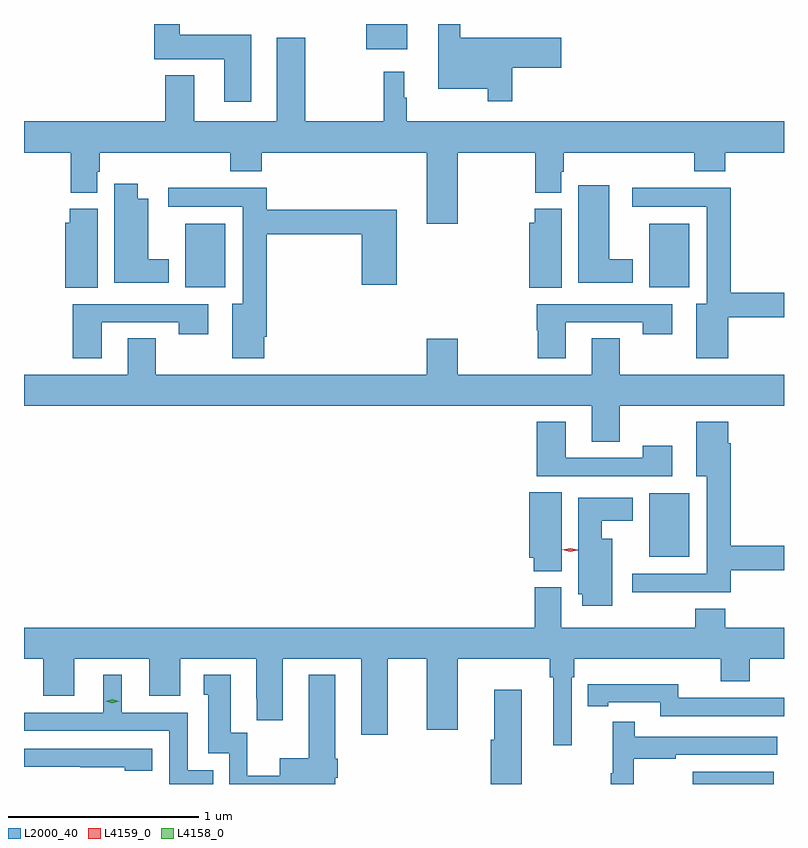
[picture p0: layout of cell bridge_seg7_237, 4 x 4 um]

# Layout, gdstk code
import gdstk
lib = gdstk.Library(unit=1e-6, precision=1e-09)
def R(c, l, rs):  # rectangles x0, y0, x1, y1
    for r in rs: c.add(gdstk.rectangle(r[:2], r[2:], *l))
def P(c, l, *ps):  # polygons
    for p in ps: c.add(gdstk.Polygon(p, *l))
L2000_40 = (2000, 40)
L4158_0 = (4158, 0)
L4159_0 = (4159, 0)

bridge_seg7_237 = lib.new_cell('bridge_seg7_237')
R(bridge_seg7_237, L2000_40, [(346.227,1033.257,346.654,1033.321), (345.998,1034.453,346.21,1034.788), (343.556,1035.872,343.768,1036.207), (345.998,1035.872,346.21,1036.207), (344.51,1037.123,344.725,1037.257)])
P(bridge_seg7_237, L2000_40, [(345.278,1037.027),(345.535,1037.027),(345.535,1037.185),(345.005,1037.185),(345.005,1037.257),(344.888,1037.257),(344.888,1036.916),(345.15,1036.916),(345.15,1036.851),(345.278,1036.851)],
  [(343.903,1037.2),(343.528,1037.2),(343.528,1037.257),(343.394,1037.257),(343.394,1037.072),(343.763,1037.072),(343.763,1036.848),(343.903,1036.848)],
  [(344.992,1036.58),(345.4,1036.58),(345.4,1036.369),(345.535,1036.369),(345.535,1036.479),(345.548,1036.479),(345.548,1036.58),(346.235,1036.58),(346.235,1036.481),(346.4,1036.481),(346.4,1036.58),(346.708,1036.58),(346.708,1036.744),(344.722,1036.744),(344.722,1036.868),(344.71,1036.868),(344.71,1037.007),(344.601,1037.007),(344.601,1036.744),(344.187,1036.744),(344.187,1037.185),(344.039,1037.185),(344.039,1036.744),(343.603,1036.744),(343.603,1036.987),(343.451,1036.987),(343.451,1036.744),(342.708,1036.744),(342.708,1036.58),(342.953,1036.58),(342.953,1036.369),(343.093,1036.369),(343.093,1036.479),(343.106,1036.479),(343.106,1036.58),(343.793,1036.58),(343.793,1036.481),(343.958,1036.481),(343.958,1036.58),(344.828,1036.58),(344.828,1036.206),(344.992,1036.206)],
  [(343.471,1036.018),(343.363,1036.018),(343.363,1036.336),(343.306,1036.336),(343.306,1036.417),(343.184,1036.417),(343.184,1035.896),(343.471,1035.896)],
  [(345.913,1036.018),(345.787,1036.018),(345.787,1036.408),(345.626,1036.408),(345.626,1035.896),(345.913,1035.896)],
  [(343.972,1035.61),(343.985,1035.61),(343.985,1036.15),(344.486,1036.15),(344.486,1035.885),(344.669,1035.885),(344.669,1036.279),(343.985,1036.279),(343.985,1036.394),(343.467,1036.394),(343.467,1036.296),(343.859,1036.296),(343.859,1035.784),(343.805,1035.784),(343.805,1035.498),(343.972,1035.498)],
  [(346.414,1035.714),(346.708,1035.714),(346.708,1035.842),(346.427,1035.842),(346.427,1036.394),(345.909,1036.394),(345.909,1036.296),(346.301,1036.296),(346.301,1035.784),(346.247,1035.784),(346.247,1035.498),(346.414,1035.498)],
  [(345.538,1036.284),(345.397,1036.284),(345.397,1036.212),(345.368,1036.212),(345.368,1035.868),(345.538,1035.868)],
  [(343.096,1036.284),(342.95,1036.284),(342.95,1036.212),(342.926,1036.212),(342.926,1035.868),(343.096,1035.868)],
  [(345.559,1035.687),(345.964,1035.687),(345.964,1035.624),(346.12,1035.624),(346.12,1035.783),(345.407,1035.783),(345.407,1035.645),(345.412,1035.645),(345.412,1035.498),(345.559,1035.498)],
  [(343.117,1035.687),(343.522,1035.687),(343.522,1035.624),(343.678,1035.624),(343.678,1035.783),(342.965,1035.783),(342.965,1035.498),(343.117,1035.498)],
  [(345.695,1035.058),(345.843,1035.058),(345.843,1035.248),(346.708,1035.248),(346.708,1035.412),(345.843,1035.412),(345.843,1035.602),(345.695,1035.602),(345.695,1035.412),(344.992,1035.412),(344.992,1035.601),(344.828,1035.601),(344.828,1035.412),(343.401,1035.412),(343.401,1035.602),(343.253,1035.602),(343.253,1035.412),(342.708,1035.412),(342.708,1035.248),(345.695,1035.248)],
  [(346.12,1035.037),(345.964,1035.037),(345.964,1034.973),(345.559,1034.973),(345.559,1035.163),(345.407,1035.163),(345.407,1034.877),(346.12,1034.877)],
  [(346.427,1034.382),(346.708,1034.382),(346.708,1034.51),(346.427,1034.51),(346.427,1035.05),(346.414,1035.05),(346.414,1035.163),(346.247,1035.163),(346.247,1034.876),(346.301,1034.876),(346.301,1034.364),(345.909,1034.364),(345.909,1034.267),(346.427,1034.267)],
  [(345.538,1034.792),(345.368,1034.792),(345.368,1034.448),(345.392,1034.448),(345.392,1034.377),(345.538,1034.377)],
  [(345.805,1034.548),(345.748,1034.548),(345.748,1034.642),(345.913,1034.642),(345.913,1034.764),(345.626,1034.764),(345.626,1034.256),(345.647,1034.256),(345.647,1034.196),(345.805,1034.196)],
  [(345.591,1033.82),(345.605,1033.82),(345.605,1033.916),(346.376,1033.916),(346.376,1033.799),(346.529,1033.799),(346.529,1033.916),(346.708,1033.916),(346.708,1034.08),(346.4,1034.08),(346.4,1034.179),(346.24,1034.179),(346.24,1034.08),(345.535,1034.08),(345.535,1034.292),(345.395,1034.292),(345.395,1034.08),(342.708,1034.08),(342.708,1033.916),(342.809,1033.916),(342.809,1033.722),(342.973,1033.722),(342.973,1033.916),(343.367,1033.916),(343.367,1033.722),(343.531,1033.722),(343.531,1033.916),(343.931,1033.916),(343.931,1033.705),(343.932,1033.705),(343.932,1033.593),(344.071,1033.593),(344.071,1033.916),(344.483,1033.916),(344.483,1033.515),(344.623,1033.515),(344.623,1033.916),(344.828,1033.916),(344.828,1033.542),(344.992,1033.542),(344.992,1033.916),(345.475,1033.916),(345.475,1033.82),(345.494,1033.82),(345.494,1033.461),(345.591,1033.461)],
  [(344.347,1033.289),(344.36,1033.289),(344.36,1033.389),(344.347,1033.389),(344.347,1033.831),(344.207,1033.831),(344.207,1033.393),(344.054,1033.393),(344.054,1033.3),(343.884,1033.3),(343.884,1033.527),(343.795,1033.527),(343.795,1033.831),(343.655,1033.831),(343.655,1033.728),(343.679,1033.728),(343.679,1033.419),(343.788,1033.419),(343.788,1033.257),(344.347,1033.257)],
  [(343.703,1033.329),(343.569,1033.329),(343.569,1033.632),(343.222,1033.632),(343.222,1033.831),(343.124,1033.831),(343.124,1033.632),(342.708,1033.632),(342.708,1033.536),(343.473,1033.536),(343.473,1033.257),(343.703,1033.257)],
  [(346.708,1033.712),(346.612,1033.712),(346.612,1033.71),(346.152,1033.71),(346.152,1033.783),(345.784,1033.783),(345.784,1033.782),(345.676,1033.782),(345.676,1033.666),(345.784,1033.666),(345.784,1033.686),(346.056,1033.686),(346.056,1033.614),(346.708,1033.614)],
  [(345.328,1033.753),(345.182,1033.753),(345.182,1033.489),(345.164,1033.489),(345.164,1033.257),(345.328,1033.257)],
  [(345.916,1033.39),(346.139,1033.39),(346.139,1033.41),(346.672,1033.41),(346.672,1033.506),(345.923,1033.506),(345.923,1033.585),(345.806,1033.585),(345.806,1033.313),(345.795,1033.313),(345.795,1033.257),(345.916,1033.257)],
  [(343.384,1033.443),(342.708,1033.443),(342.708,1033.347),(343.003,1033.347),(343.003,1033.346),(343.239,1033.346),(343.239,1033.328),(343.384,1033.328)])
P(bridge_seg7_237, L4158_0, [(343.173,1033.682),(343.137,1033.692),(343.137,1033.692),(343.137,1033.692),(343.173,1033.702),(343.208,1033.692),(343.209,1033.692),(343.208,1033.692)])
P(bridge_seg7_237, L4159_0, [(345.582,1034.479),(345.542,1034.489),(345.542,1034.489),(345.542,1034.489),(345.582,1034.499),(345.623,1034.489),(345.623,1034.488),(345.623,1034.488)])

lib.write_gds('bridge_seg7_237.gds')
